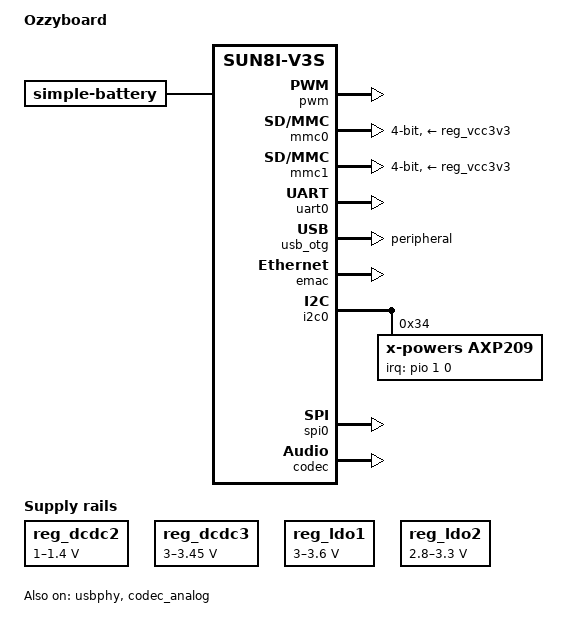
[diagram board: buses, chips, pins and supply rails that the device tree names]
/dts-v1/;
#include "sun8i-V3s-Ozzyboard_kernel.dtsi"
#include "sunxi-common-regulators.dtsi"

//#include <dt-bindings/input/input.h>


/ {
	model = "Ozzyboard";
	compatible = "ozzyboard", "allwinner,sun8i-v3s";

	aliases {
		serial0 = &uart0;
		ethernet0 = &emac;		
	};

	chosen {
		stdout-path = "serial0:115200n8";			
	};
	
	bat: battery {
		compatible = "simple-battery";
		constant_charge_current_max_microamp = <400000>;
	};
};

&pwm {
        pinctrl-names = "default";
        pinctrl-0 = <&pwm0_pins>, <&pwm1_pins>;       
        status = "okay";
};
			
&mmc0 {
	broken-cd;
	bus-width = <4>;
	vmmc-supply = <&reg_vcc3v3>;
	status = "okay";
};

&mmc1 {
	pinctrl-0 = <&mmc1_pins>;
	pinctrl-names = "default";
	broken-cd;
	bus-width = <4>;
	vmmc-supply = <&reg_vcc3v3>;
	status = "okay";
};


&uart0 {
	pinctrl-0 = <&uart0_pb_pins>;
	pinctrl-names = "default";
	status = "okay";
};



&usb_otg {
	dr_mode = "peripheral";
	status = "okay";
};

&usbphy {
	usb0_vbus-supply = <&reg_vcc5v0>;
	phy-supply = <&reg_vcc5v0>;
	vcc = <&reg_vcc5v0>;
	status = "okay";
};

/*
ehci0: usb@01c1a000 {
	compatible = "allwinner,sun8i-v3s-ehci", "generic-ehci";
	reg = <0x01c1a000 0x100>;
	interrupts = <GIC_SPI 72 IRQ_TYPE_LEVEL_HIGH>;
	clocks = <&ccu CLK_BUS_EHCI0>, <&ccu CLK_BUS_OHCI0>;
	resets = <&ccu RST_BUS_EHCI0>, <&ccu RST_BUS_OHCI0>;
	status = "okay";
};

ohci0: usb@01c1a400 {
	compatible = "allwinner,sun8i-v3s-ohci", "generic-ohci";
	reg = <0x01c1a400 0x100>;
	interrupts = <GIC_SPI 73 IRQ_TYPE_LEVEL_HIGH>;
	clocks = <&ccu CLK_BUS_EHCI0>, <&ccu CLK_BUS_OHCI0>,
		 <&ccu CLK_USB_OHCI0>;
	resets = <&ccu RST_BUS_EHCI0>, <&ccu RST_BUS_OHCI0>;
	status = "okay";
};
*/
           
&emac {
	allwinner,leds-active-high;
	status = "okay";
};

&i2c0 {
	pinctrl-names = "default";
	pinctrl-0 = <&i2c0_pins>;	
	status = "okay";
	
	axp209: pmic@34 {
		compatible = "x-powers,axp209";
		reg = <0x34>;
		
		interrupt-parent = <&pio>;
		interrupts = <1 0 IRQ_TYPE_EDGE_FALLING>;
		interrupt-controller;
		#interrupt-cells = <1>;
	};
};

#include "axp209.dtsi"

&ac_power_supply {
	status = "okay";
};

&axp_gpio {
	status = "okay";
};

&battery_power_supply {
	status = "okay";
	monitored-battery = <&bat>;
};

&usb_power_supply {
	status = "okay";
};

&reg_dcdc2 {
	regulator-always-on;
	regulator-min-microvolt = <1000000>;
	regulator-max-microvolt = <1400000>;
	regulator-name = "vdd-cpu-sys-ephy";
};

&reg_dcdc3 {
	regulator-always-on;
	regulator-min-microvolt = <3000000>;
	regulator-max-microvolt = <3450000>;
	regulator-name = "vcc-io-ephy-mcsi-usb";
};

&reg_ldo1 {
	regulator-min-microvolt = <3000000>;
	regulator-max-microvolt = <3600000>;
	regulator-name = "vcc-rtc";
};

&reg_ldo2 {
	regulator-always-on;
	regulator-min-microvolt = <2800000>;
	regulator-max-microvolt = <3300000>;
	regulator-name = "avcc-pll";
};

&reg_vcc3v0 {
	regulator-always-on;
	status = "okay";
};

&reg_vcc3v3 {
	regulator-always-on;
	status = "okay";
};

&reg_vcc5v0 {
	regulator-always-on;
	status = "okay";
};

/*
&i2c1 {
	pinctrl-0 = <&i2c1_pins>;
	pinctrl-names = "default";
	status = "disabled";
};
*/


&spi0 {
	pinctrl-0 = <&spi0_pins>;
	pinctrl-names = "default";
	status = "okay";
	
};

&codec {
	allwinner,audio-routing =
		"Headphone", "HP",
		"Headphone", "HPCOM",
		"MIC1", "Mic",
		"Mic",  "HBIAS";
	status = "okay";
};

&codec_analog {
	status = "okay";
};

/*
&lradc {
	vref-supply = <&reg_vcc3v0>;
	status = "okay";

	button@200 {
		label = "Volume Up";
		linux,code = <KEY_VOLUMEUP>;
		channel = <0>;
		voltage = <200000>;
	};

	button@400 {
		label = "Volume Down";
		linux,code = <KEY_VOLUMEDOWN>;
		channel = <0>;
		voltage = <400000>;
	};

	button@600 {
		label = "Select";
		linux,code = <KEY_SELECT>;
		channel = <0>;
		voltage = <600000>;
	};

	button@800 {
		label = "Start";
		linux,code = <KEY_OK>;
		channel = <0>;
		voltage = <800000>;
	};
};
*/

